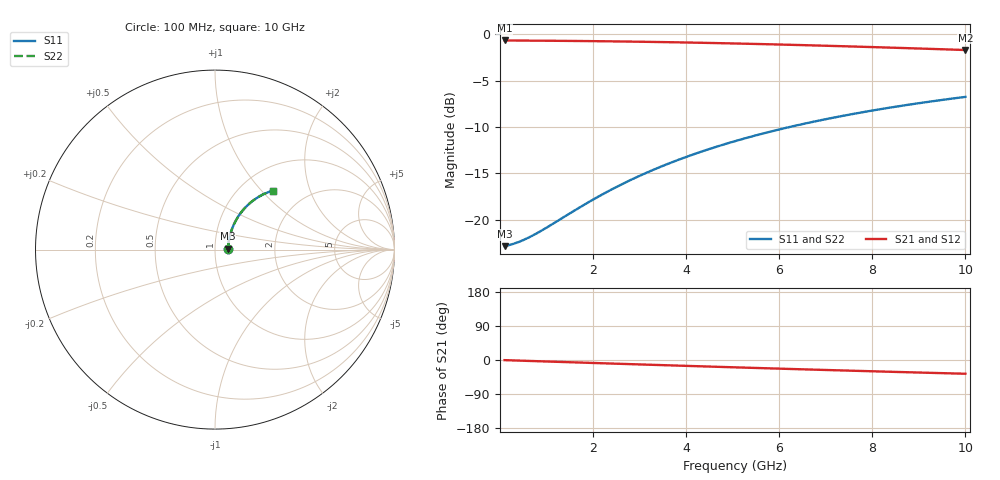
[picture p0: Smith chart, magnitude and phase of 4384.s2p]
# Hz S RI R 50.00
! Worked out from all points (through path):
!   100 points, 100 MHz to 10 GHz, reference 50 ohm
!   highest |S21| = -0.65 dB at 100 MHz (marker M1); lowest = -1.7 dB at 10 GHz (marker M2)
!   group delay of S21, straight-line fit = 10.1 ps
!   lowest |S11| = -22.9 dB at 100 MHz (marker M3), VSWR 1.16, Z = 57.7 + j0.557 ohm
!   |S11| at or under -10 dB: start of sweep to 6.215 GHz
!   |S22| runs from -22.9 to -6.7 dB; largest |S21 - S12| = 0
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1e8  0.0718 0.0048  0.9282 -0.00637  0.9282 -0.00637  0.0718 0.0048
3e8  0.0729 0.0144  0.9271 -0.0191  0.9271 -0.0191  0.0729 0.0144
4e8  0.0734 0.0191  0.9266 -0.0254  0.9266 -0.0254  0.0734 0.0191
5e8  0.0739 0.0239  0.9261 -0.0317  0.9261 -0.0317  0.0739 0.0239
7e8  0.075 0.0334  0.9249 -0.0444  0.9249 -0.0444  0.075 0.0334
1e9  0.0771 0.0475  0.9227 -0.0632  0.9227 -0.0632  0.0771 0.0475
1.8e9  0.0852 0.0847  0.9144 -0.1129  0.9144 -0.1129  0.0852 0.0847
2.2e9  0.0906 0.1027  0.9088 -0.1373  0.9088 -0.1373  0.0906 0.1027
2.6e9  0.0969 0.1204  0.9022 -0.1612  0.9022 -0.1612  0.0969 0.1204
3e9  0.1041 0.1376  0.8947 -0.1847  0.8947 -0.1847  0.1041 0.1376
3.4e9  0.1122 0.1543  0.8863 -0.2078  0.8863 -0.2078  0.1122 0.1543
3.8e9  0.121 0.1705  0.8771 -0.2302  0.8771 -0.2302  0.121 0.1705
4.2e9  0.1306 0.186  0.8671 -0.2521  0.8671 -0.2521  0.1306 0.186
4.6e9  0.1409 0.2009  0.8563 -0.2733  0.8563 -0.2733  0.1409 0.2009
5.1e9  0.1547 0.2185  0.8419 -0.2988  0.8419 -0.2988  0.1547 0.2185
5.5e9  0.1665 0.2318  0.8296 -0.3185  0.8296 -0.3185  0.1665 0.2318
5.9e9  0.1787 0.2444  0.8167 -0.3374  0.8167 -0.3374  0.1787 0.2444
6.7e9  0.2046 0.2672  0.7895 -0.373  0.7895 -0.373  0.2046 0.2672
7.5e9  0.2319 0.2869  0.7607 -0.4056  0.7607 -0.4056  0.2319 0.2869
8.4e9  0.2639 0.3053  0.7268 -0.4385  0.7268 -0.4385  0.2639 0.3053
9.2e9  0.293 0.3184  0.6958 -0.4645  0.6958 -0.4645  0.293 0.3184
1e10  0.3223 0.3286  0.6644 -0.4876  0.6644 -0.4876  0.3223 0.3286
